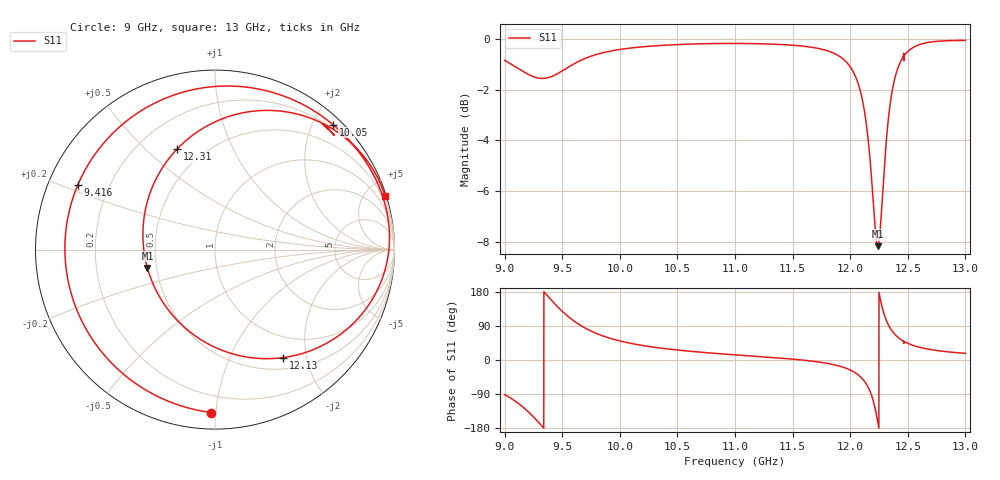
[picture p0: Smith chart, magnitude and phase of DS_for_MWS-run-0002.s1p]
! TOUCHSTONE file generated by CST DESIGN STUDIO
! Date and time: Tue Feb  4 13:25:41 2025
! Project name: C:\Work\MatlabApps\UnitCellOptimizationMatlab\CST\unitcell.cst
! Tree item: Tasks\Sweep1\SPara1\S-Parameters
! Header version: 2024
! Port assignment regex: !\s*Touchstone port\s*([0-9]+)\s*=\s*(CST MWS port|CST DES external port|CST DES block port)\s*(.+)\s* \(\"(.*)\"\)(\s*mode\s*([0-9]+))?.*
! Touchstone port assignment:
! Touchstone port 1 = CST DES external port 1 ("")
# GHz S MA R 50
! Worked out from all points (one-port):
!   4001 points, 9 GHz to 13 GHz, reference 50 ohm
!   lowest |S11| = -8.2 dB at 12.24 GHz (marker M1), VSWR 2.28, Z = 22.3 - j5.39 ohm
!   |S11| at or under -10 dB: nowhere
!   S11 on the Smith chart (normalised r, x): 9 GHz: 0.09, -0.97; 9.416 GHz: 0.09, +0.22; 10.05 GHz: 0.14, +2.31; 12.13 GHz: 0.66, -1.61; 12.31 GHz: 0.36, +0.63; 13 GHz: 0.13, +6.46
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9  0.9079 -91.3
9.104  0.8787 -111.1
9.195  0.8542 -133.8
9.313  0.8364 -170.6
9.416  0.845 154.6
9.5  0.8654 128.6
9.582  0.8882 107.4
9.677  0.9113 88.0
9.826  0.9365 66.5
10  0.9539 50.3
10.052  0.9575 46.6
10.5  0.9754 26.3
11  0.9803 13.6
11.5  0.9724 2.3
11.828  0.9438 -10.4
12  0.8818 -26.3
12.071  0.8143 -39.5
12.128  0.7108 -57.9
12.187  0.5253 -94.5
12.24  0.3901 -164.8
12.271  0.4548 147.2
12.306  0.5998 110.5
12.337  0.7142 89.5
12.373  0.8091 73.0
12.447  0.9113 52.6
12.5  0.9451 44.0
12.678  0.9849 28.6
13  0.9937 17.6
